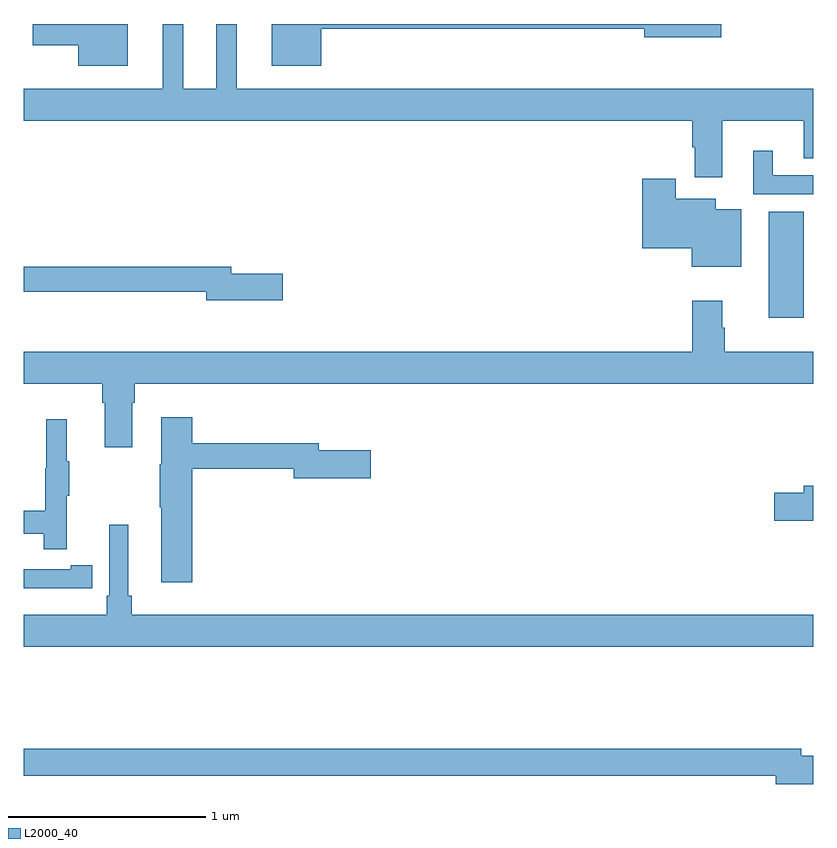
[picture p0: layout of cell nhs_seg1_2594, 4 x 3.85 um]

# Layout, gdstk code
import gdstk
lib = gdstk.Library(unit=1e-6, precision=1e-09)
def R(c, l, rs):  # rectangles x0, y0, x1, y1
    for r in rs: c.add(gdstk.rectangle(r[:2], r[2:], *l))
def P(c, l, *ps):  # polygons
    for p in ps: c.add(gdstk.Polygon(p, *l))
L2000_40 = (2000, 40)

nhs_seg1_2594 = lib.new_cell('nhs_seg1_2594')
R(nhs_seg1_2594, L2000_40, [(254.774,574.712,254.95,575.248)])
P(nhs_seg1_2594, L2000_40, [(254.539,575.708),(254.951,575.708),(254.951,575.518),(255,575.518),(255,575.872),(252.079,575.872),(252.079,576.199),(251.975,576.199),(251.975,575.872),(251.809,575.872),(251.809,576.199),(251.705,576.199),(251.705,575.872),(251,575.872),(251,575.708),(254.387,575.708),(254.387,575.574),(254.399,575.574),(254.399,575.424),(254.539,575.424)],
  [(252.508,576.174),(254.144,576.174),(254.144,576.131),(254.533,576.131),(254.533,576.199),(252.257,576.199),(252.257,575.987),(252.508,575.987)],
  [(251.527,576.199),(251.046,576.199),(251.046,576.092),(251.276,576.092),(251.276,575.987),(251.527,575.987)],
  [(255,575.433),(254.794,575.433),(254.794,575.557),(254.696,575.557),(254.696,575.337),(255,575.337)],
  [(254.635,575.26),(254.506,575.26),(254.506,575.314),(254.302,575.314),(254.302,575.416),(254.132,575.416),(254.132,575.063),(254.384,575.063),(254.384,574.97),(254.635,574.97)],
  [(252.313,574.934),(252.052,574.934),(252.052,574.97),(251,574.97),(251,574.842),(251.924,574.842),(251.924,574.799),(252.313,574.799)],
  [(251.551,574.28),(251.564,574.28),(251.564,574.376),(255,574.376),(255,574.54),(254.552,574.54),(254.552,574.661),(254.539,574.661),(254.539,574.798),(254.387,574.798),(254.387,574.54),(251,574.54),(251,574.376),(251.399,574.376),(251.399,574.28),(251.411,574.28),(251.411,574.056),(251.551,574.056)],
  [(251.855,573.946),(252.368,573.946),(252.368,573.899),(252.757,573.899),(252.757,574.041),(252.496,574.041),(252.496,574.075),(251.855,574.075),(251.855,574.207),(251.696,574.207),(251.696,573.969),(251.689,573.969),(251.689,573.751),(251.696,573.751),(251.696,573.372),(251.855,573.372)],
  [(251.219,573.811),(251.23,573.811),(251.23,573.985),(251.219,573.985),(251.219,574.198),(251.116,574.198),(251.116,573.948),(251.109,573.948),(251.109,573.734),(251,573.734),(251,573.618),(251.101,573.618),(251.101,573.54),(251.219,573.54)],
  [(255,573.86),(254.951,573.86),(254.951,573.824),(254.802,573.824),(254.802,573.682),(255,573.682)],
  [(255,573.208),(251.549,573.208),(251.549,573.304),(251.53,573.304),(251.53,573.664),(251.433,573.664),(251.433,573.304),(251.42,573.304),(251.42,573.208),(251,573.208),(251,573.044),(255,573.044)],
  [(251.24,573.342),(251.348,573.342),(251.348,573.458),(251.24,573.458),(251.24,573.438),(251,573.438),(251,573.341),(251.24,573.341)],
  [(255,572.492),(254.938,572.492),(254.938,572.528),(251,572.528),(251,572.392),(254.81,572.392),(254.81,572.35),(255,572.35)])

lib.write_gds('nhs_seg1_2594.gds')
